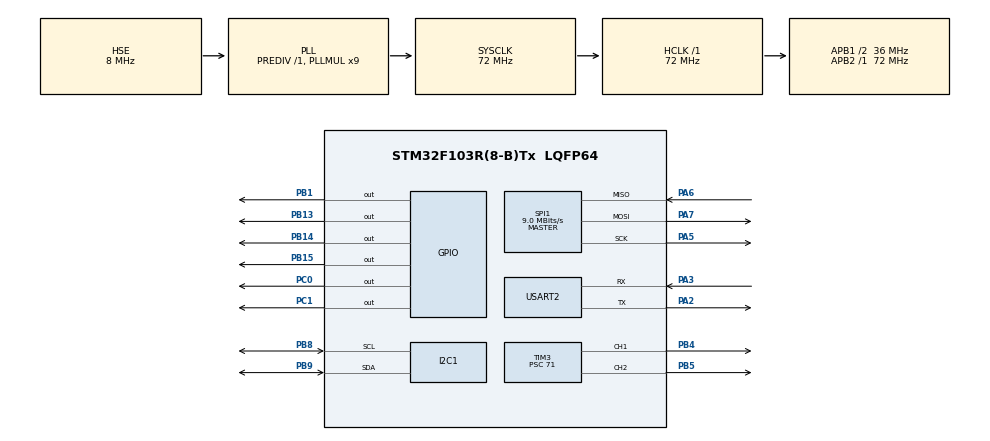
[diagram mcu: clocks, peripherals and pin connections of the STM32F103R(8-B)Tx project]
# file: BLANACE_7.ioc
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FREERTOS.Tasks01=BalanceTask,24,128,StartBalanceTask,Default,NULL,Dynamic,NULL,NULL;nRF24Task,24,128,StartnRF24Task,Default,NULL,Dynamic,NULL,NULL
FREERTOS.configUSE_NEWLIB_REENTRANT=1
Mcu.Family=STM32F1
Mcu.Name=STM32F103R(8-B)Tx
Mcu.Package=LQFP64
NVIC.PriorityGroup=NVIC_PRIORITYGROUP_4
NVIC.TIM4_IRQn=true\:15\:0\:false\:false\:true\:false\:false\:true\:true
NVIC.TimeBase=TIM4_IRQn
NVIC.TimeBaseIP=TIM4
NVIC.USART2_IRQn=true\:5\:0\:false\:false\:true\:true\:true\:true\:true
PA13.Mode=Serial_Wire
PA13.Signal=SYS_JTMS-SWDIO
PA14.Mode=Serial_Wire
PA14.Signal=SYS_JTCK-SWCLK
PA2.Mode=Asynchronous
PA2.Signal=USART2_TX
PA3.Mode=Asynchronous
PA3.Signal=USART2_RX
PA5.Mode=Full_Duplex_Master
PA5.Signal=SPI1_SCK
PA6.Mode=Full_Duplex_Master
PA6.Signal=SPI1_MISO
PA7.Mode=Full_Duplex_Master
PA7.Signal=SPI1_MOSI
PB1.Signal=GPIO_Output
PB13.Signal=GPIO_Output
PB14.Signal=GPIO_Output
PB15.Signal=GPIO_Output
PB4.Signal=S_TIM3_CH1
PB5.Signal=S_TIM3_CH2
PB8.Mode=I2C
PB8.Signal=I2C1_SCL
PB9.Mode=I2C
PB9.Signal=I2C1_SDA
PC0.Signal=GPIO_Output
PC1.Signal=GPIO_Output
PD0-OSC_IN.Mode=HSE-External-Oscillator
PD0-OSC_IN.Signal=RCC_OSC_IN
PD1-OSC_OUT.Mode=HSE-External-Oscillator
PD1-OSC_OUT.Signal=RCC_OSC_OUT
ProjectManager.HeapSize=0x200
ProjectManager.StackSize=0x400
ProjectManager.TargetToolchain=STM32CubeIDE
RCC.AHBFreq_Value=72000000
RCC.APB1CLKDivider=RCC_HCLK_DIV2
RCC.APB1Freq_Value=36000000
RCC.APB1TimFreq_Value=72000000
RCC.APB2Freq_Value=72000000
RCC.APB2TimFreq_Value=72000000
RCC.HCLKFreq_Value=72000000
RCC.PLLMUL=RCC_PLL_MUL9
RCC.PLLSourceVirtual=RCC_PLLSOURCE_HSE
RCC.SYSCLKFreq_VALUE=72000000
RCC.SYSCLKSource=RCC_SYSCLKSOURCE_PLLCLK
RCC.USBFreq_Value=72000000
SH.S_TIM3_CH1.0=TIM3_CH1,PWM Generation1 CH1
SH.S_TIM3_CH2.0=TIM3_CH2,PWM Generation2 CH2
SPI1.BaudRatePrescaler=SPI_BAUDRATEPRESCALER_8
SPI1.CalculateBaudRate=9.0 MBits/s
SPI1.Direction=SPI_DIRECTION_2LINES
SPI1.Mode=SPI_MODE_MASTER
SPI1.VirtualType=VM_MASTER
TIM3.Channel-PWM\ Generation1\ CH1=TIM_CHANNEL_1
TIM3.Channel-PWM\ Generation2\ CH2=TIM_CHANNEL_2
TIM3.Period=1000-1
TIM3.Prescaler=71
USART2.VirtualMode=VM_ASYNC
VP_FREERTOS_VS_CMSIS_V2.Mode=CMSIS_V2
VP_SYS_VS_tim4.Mode=TIM4
VP_TIM3_VS_ClockSourceINT.Mode=Internal
board=custom

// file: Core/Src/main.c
/* USER CODE BEGIN Header */
/**
  ******************************************************************************
  * @file           : main.c
  * @brief          : Main program body
  ******************************************************************************
  * @attention
  *
  * Copyright (c) 2025 STMicroelectronics.
  * All rights reserved.
  *
  * This software is licensed under terms that can be found in the LICENSE file
  * in the root directory of this software component.
  * If no LICENSE file comes with this software, it is provided AS-IS.
  *
  ******************************************************************************
  */
/* USER CODE END Header */
#include "main.h"
#include "cmsis_os.h"
#include "i2c.h"
#include "spi.h"
#include "tim.h"
#include "usart.h"
#include "gpio.h"

/* USER CODE BEGIN Includes */

#include <stdio.h>
#include <string.h>
#include <math.h>
#include "mpu6050.h"
#include "motor.h"
#include "pid.h"
#include "nrf24.h"

/* USER CODE END Includes */

/* USER CODE BEGIN PM */

#ifdef __GNUC__
/* With GCC small printf (option LD Linker->Libraries->Small printf
 * set to 'Yes') calls __io_putchar() */
#define PUTCHAR_PROTOTYPE int  __io_putchar(int ch)
#else
#define PUTCHAR_PROTOTYPE int  fputc(int ch, FILE *f)
#endif /* __GNUC__*/

/** @brief Retargets the C library printf function to the USART.
 *  @param None
 *  @retval None
 */
PUTCHAR_PROTOTYPE
{
  /* Place your implementation of fputc here */
  /* e.g. write a character to the USART2 and Loop
     until the end of transmission */
  if(ch == '\n')
    HAL_UART_Transmit(&huart2, (uint8_t*) "\r", 1, 0xFFFF);
   HAL_UART_Transmit(&huart2, (uint8_t*) &ch, 1, 0xFFFF);
}

/* USER CODE END PM */

void SystemClock_Config(void);
void MX_FREERTOS_Init(void);

/* USER CODE BEGIN 0 */

float ax, ay, az;
float gx, gy, gz;
float roll;

/* USER CODE END 0 */

int main(void)
{

  /* MCU Configuration--------------------------------------------------------*/

  /* Reset of all peripherals, Initializes the Flash interface and the Systick. */
  HAL_Init();

  /* Configure the system clock */
  SystemClock_Config();

  /* Initialize all configured peripherals */
  MX_GPIO_Init();
  MX_TIM3_Init();
  MX_I2C1_Init();
  MX_USART2_UART_Init();
  MX_SPI1_Init();
  /* USER CODE BEGIN 2 */

  MPU6050_Init(); // 센서 초기화
  MPU6050_Calibrate_Gyro();
  HAL_TIM_PWM_Start(&htim3, TIM_CHANNEL_1);
  HAL_TIM_PWM_Start(&htim3, TIM_CHANNEL_2);

  /* USER CODE END 2 */

  /* Init scheduler */
  osKernelInitialize();

  /* Call init function for freertos objects (in cmsis_os2.c) */
  MX_FREERTOS_Init();

  /* Start scheduler */
  osKernelStart();

  /* We should never get here as control is now taken by the scheduler */

  /* Infinite loop */
  while (1)
  {

  }
}

void SystemClock_Config(void)
{
  RCC_OscInitTypeDef RCC_OscInitStruct = {0};
  RCC_ClkInitTypeDef RCC_ClkInitStruct = {0};

  /** Initializes the RCC Oscillators according to the specified parameters
  * in the RCC_OscInitTypeDef structure.
  */
  RCC_OscInitStruct.OscillatorType = RCC_OSCILLATORTYPE_HSE;
  RCC_OscInitStruct.HSEState = RCC_HSE_ON;
  RCC_OscInitStruct.HSEPredivValue = RCC_HSE_PREDIV_DIV1;
  RCC_OscInitStruct.HSIState = RCC_HSI_ON;
  RCC_OscInitStruct.PLL.PLLState = RCC_PLL_ON;
  RCC_OscInitStruct.PLL.PLLSource = RCC_PLLSOURCE_HSE;
  RCC_OscInitStruct.PLL.PLLMUL = RCC_PLL_MUL9;
  if (HAL_RCC_OscConfig(&RCC_OscInitStruct) != HAL_OK)
  {
    Error_Handler();
  }

  /** Initializes the CPU, AHB and APB buses clocks
  */
  RCC_ClkInitStruct.ClockType = RCC_CLOCKTYPE_HCLK|RCC_CLOCKTYPE_SYSCLK
                              |RCC_CLOCKTYPE_PCLK1|RCC_CLOCKTYPE_PCLK2;
  RCC_ClkInitStruct.SYSCLKSource = RCC_SYSCLKSOURCE_PLLCLK;
  RCC_ClkInitStruct.AHBCLKDivider = RCC_SYSCLK_DIV1;
  RCC_ClkInitStruct.APB1CLKDivider = RCC_HCLK_DIV2;
  RCC_ClkInitStruct.APB2CLKDivider = RCC_HCLK_DIV1;

  if (HAL_RCC_ClockConfig(&RCC_ClkInitStruct, FLASH_LATENCY_2) != HAL_OK)
  {
    Error_Handler();
  }
}

void HAL_TIM_PeriodElapsedCallback(TIM_HandleTypeDef *htim)
{
  if (htim->Instance == TIM4)
  {
    HAL_IncTick();
  }
}

void Error_Handler(void)
{
  __disable_irq();
  while (1)
  {
  }
}

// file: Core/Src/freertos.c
/* USER CODE BEGIN Header */
/**
  ******************************************************************************
  * File Name          : freertos.c
  * Description        : Code for freertos applications
  ******************************************************************************
  * @attention
  *
  * Copyright (c) 2025 STMicroelectronics.
  * All rights reserved.
  *
  * This software is licensed under terms that can be found in the LICENSE file
  * in the root directory of this software component.
  * If no LICENSE file comes with this software, it is provided AS-IS.
  *
  ******************************************************************************
  */
/* USER CODE END Header */

#include "FreeRTOS.h"
#include "task.h"
#include "main.h"
#include "cmsis_os.h"

/* USER CODE BEGIN Includes */
#include "mpu6050.h"
#include "pid.h"
#include "motor.h"
#include <stdio.h>
#include "nrf24.h"

/* USER CODE END Includes */

/* Definitions for BalanceTask */
osThreadId_t BalanceTaskHandle;
const osThreadAttr_t BalanceTask_attributes = {
  .name = "BalanceTask",
  .stack_size = 128 * 4,
  .priority = (osPriority_t) osPriorityNormal,
};
/* Definitions for nRF24Task */
osThreadId_t nRF24TaskHandle;
const osThreadAttr_t nRF24Task_attributes = {
  .name = "nRF24Task",
  .stack_size = 128 * 4,
  .priority = (osPriority_t) osPriorityNormal,
};

void StartBalanceTask(void *argument);
void StartnRF24Task(void *argument);

void MX_FREERTOS_Init(void); /* (MISRA C 2004 rule 8.1) */

void MX_FREERTOS_Init(void) {

  /* Create the thread(s) */
  /* creation of BalanceTask */
  BalanceTaskHandle = osThreadNew(StartBalanceTask, NULL, &BalanceTask_attributes);

  /* creation of nRF24Task */
  nRF24TaskHandle = osThreadNew(StartnRF24Task, NULL, &nRF24Task_attributes);

}

void StartBalanceTask(void *argument)
{
  /* USER CODE BEGIN StartBalanceTask */

  TickType_t xLastWakeTime = xTaskGetTickCount();
  const TickType_t xFrequency = pdMS_TO_TICKS(5);

  float ax, ay, az, gx, gy, gz;
  float output;
  float roll;

  /* Infinite loop */
  for(;;)
  {
      // 1. 센서 데이터 읽기
      MPU6050_Read_Accel(&ax, &ay, &az);
      MPU6050_Read_Gyro(&gx, &gy, &gz);

      // 2. 필터 + PID 계산
      output = Complementary_PID(ax, ay, az, gy);

      //  15도 이상이면 정지
      if (fabs(pitch) > 70.5f)
	{
          Set_Motor_PWM(0);  // 넘어진 것으로 판단 → 정지
          PID_Reset();
          vTaskDelayUntil(&xLastWakeTime, xFrequency);
          continue;  // 다음 루프로
	}

      // 3. 모터 제어
      Set_Motor_PWM(output);

      // 5. 주기 유지
      vTaskDelayUntil(&xLastWakeTime, xFrequency);

      MPU6050_Calculate_PitchRoll(ax, ay, az, &pitch, &roll);

      //printf("%.2f,%.2f\n", pitch, roll);  // 쉼표로 구분해서 출력 (Processing에서 읽기 좋게)
      printf("pitch: %.2f, output: %.2f\n", pitch, output);
      //printf("%.2f,%.2f\n", pitch, output); //processing용 프린트
  }
  /* USER CODE END StartBalanceTask */
}

void StartnRF24Task(void *argument)
{
  for(;;)
  {
  }
}
